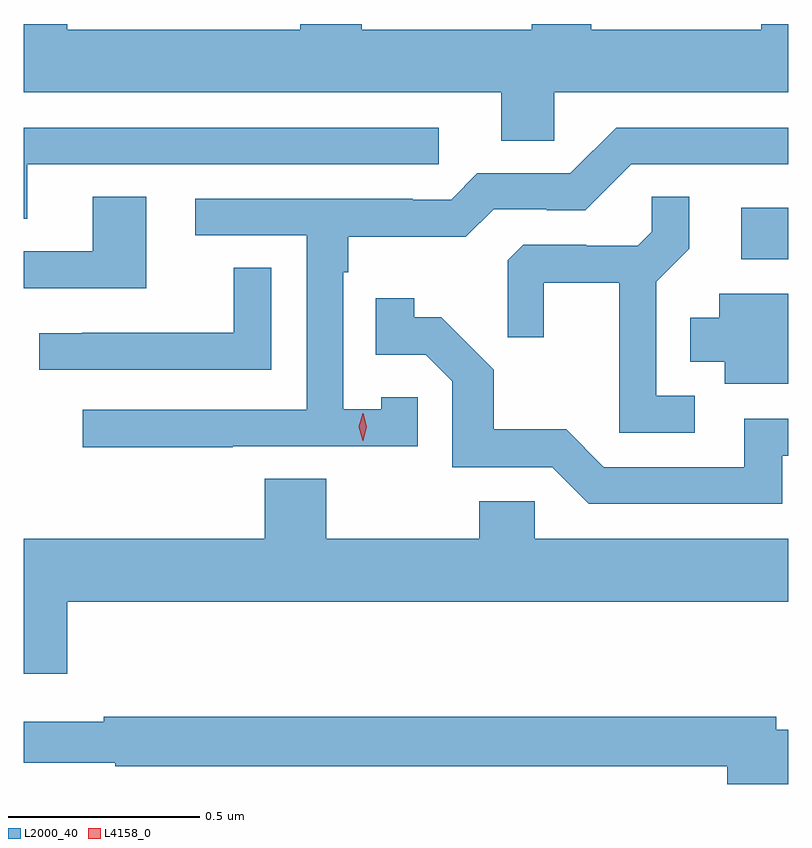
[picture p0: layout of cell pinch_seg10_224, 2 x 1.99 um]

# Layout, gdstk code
import gdstk
lib = gdstk.Library(unit=1e-6, precision=1e-09)
def R(c, l, rs):  # rectangles x0, y0, x1, y1
    for r in rs: c.add(gdstk.rectangle(r[:2], r[2:], *l))
def P(c, l, *ps):  # polygons
    for p in ps: c.add(gdstk.Polygon(p, *l))
L2000_40 = (2000, 40)
L4158_0 = (4158, 0)

pinch_seg10_224 = lib.new_cell('pinch_seg10_224')
R(pinch_seg10_224, L2000_40, [(646.455,1318.527,646.578,1318.663)])
P(pinch_seg10_224, L2000_40, [(645.966,1318.964),(646.578,1318.964),(646.578,1319.143),(646.507,1319.143),(646.507,1319.128),(646.062,1319.128),(646.062,1319.143),(645.907,1319.143),(645.907,1319.128),(645.462,1319.128),(645.462,1319.143),(645.302,1319.143),(645.302,1319.128),(644.692,1319.128),(644.692,1319.143),(644.578,1319.143),(644.578,1318.964),(645.827,1318.964),(645.827,1318.837),(645.966,1318.837)],
  [(644.587,1318.776),(645.664,1318.776),(645.664,1318.872),(644.578,1318.872),(644.578,1318.633),(644.587,1318.633)],
  [(645.125,1318.038),(645.609,1318.038),(645.609,1318.167),(645.513,1318.167),(645.513,1318.135),(645.414,1318.135),(645.414,1318.493),(645.427,1318.493),(645.427,1318.586),(645.734,1318.586),(645.807,1318.659),(645.946,1318.659),(645.946,1318.656),(646.047,1318.656),(646.167,1318.776),(646.578,1318.776),(646.578,1318.872),(646.128,1318.872),(646.008,1318.752),(645.765,1318.752),(645.696,1318.683),(645.596,1318.683),(645.596,1318.686),(645.027,1318.686),(645.027,1318.59),(645.318,1318.59),(645.318,1318.134),(644.733,1318.134),(644.733,1318.036),(645.125,1318.036)],
  [(644.899,1318.691),(644.759,1318.691),(644.759,1318.548),(644.578,1318.548),(644.578,1318.452),(644.899,1318.452)],
  [(646.333,1318.17),(646.233,1318.17),(646.233,1318.469),(646.319,1318.555),(646.319,1318.691),(646.221,1318.691),(646.221,1318.6),(646.184,1318.563),(646.05,1318.563),(646.05,1318.566),(645.885,1318.566),(645.844,1318.525),(645.844,1318.323),(645.938,1318.323),(645.938,1318.466),(646.136,1318.466),(646.136,1318.074),(646.333,1318.074)],
  [(645.225,1318.505),(645.127,1318.505),(645.127,1318.335),(644.731,1318.335),(644.731,1318.334),(644.619,1318.334),(644.619,1318.239),(645.225,1318.239)],
  [(646.578,1318.438),(646.397,1318.438),(646.397,1318.375),(646.322,1318.375),(646.322,1318.259),(646.412,1318.259),(646.412,1318.202),(646.578,1318.202)],
  [(646.562,1318.014),(646.578,1318.014),(646.578,1318.11),(646.463,1318.11),(646.463,1317.984),(646.095,1317.984),(645.997,1318.083),(645.808,1318.083),(645.808,1318.238),(645.67,1318.376),(645.6,1318.376),(645.6,1318.426),(645.499,1318.426),(645.499,1318.278),(645.63,1318.278),(645.699,1318.209),(645.699,1317.984),(645.96,1317.984),(646.056,1317.888),(646.562,1317.888)],
  [(644.692,1317.632),(646.578,1317.632),(646.578,1317.796),(645.915,1317.796),(645.915,1317.894),(645.769,1317.894),(645.769,1317.796),(645.369,1317.796),(645.369,1317.953),(645.209,1317.953),(645.209,1317.796),(644.578,1317.796),(644.578,1317.444),(644.692,1317.444)],
  [(646.578,1317.297),(646.546,1317.297),(646.546,1317.331),(644.788,1317.331),(644.788,1317.318),(644.578,1317.318),(644.578,1317.21),(644.817,1317.21),(644.817,1317.202),(646.418,1317.202),(646.418,1317.155),(646.578,1317.155)])
P(pinch_seg10_224, L4158_0, [(645.465,1318.053),(645.465,1318.053),(645.455,1318.089),(645.465,1318.125),(645.465,1318.125),(645.466,1318.125),(645.475,1318.089),(645.466,1318.053)])

lib.write_gds('pinch_seg10_224.gds')
